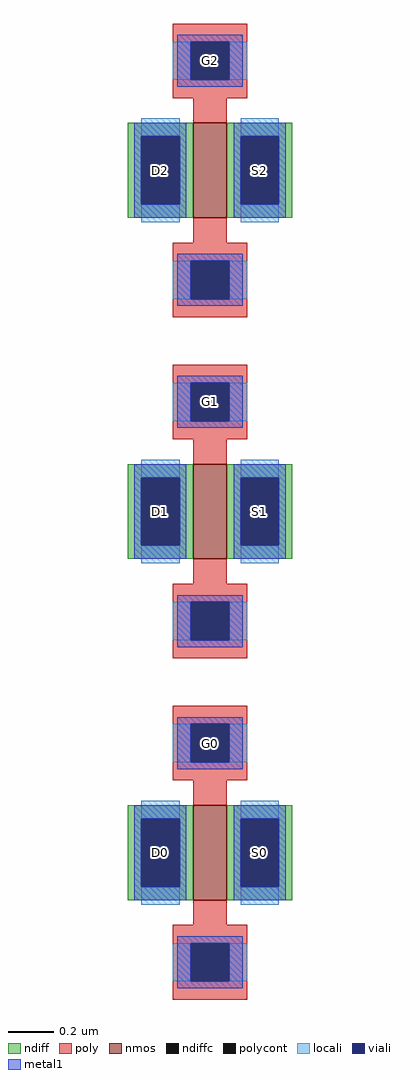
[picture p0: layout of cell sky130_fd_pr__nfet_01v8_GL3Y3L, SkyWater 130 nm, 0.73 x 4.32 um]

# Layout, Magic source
magic
tech sky130A
magscale 1 2
<< nmos >>
rect -15 260 15 344
rect -15 -42 15 42
rect -15 -344 15 -260
<< ndiff >>
rect -73 332 -15 344
rect -73 272 -61 332
rect -27 272 -15 332
rect -73 260 -15 272
rect 15 332 73 344
rect 15 272 27 332
rect 61 272 73 332
rect 15 260 73 272
rect -73 30 -15 42
rect -73 -30 -61 30
rect -27 -30 -15 30
rect -73 -42 -15 -30
rect 15 30 73 42
rect 15 -30 27 30
rect 61 -30 73 30
rect 15 -42 73 -30
rect -73 -272 -15 -260
rect -73 -332 -61 -272
rect -27 -332 -15 -272
rect -73 -344 -15 -332
rect 15 -272 73 -260
rect 15 -332 27 -272
rect 61 -332 73 -272
rect 15 -344 73 -332
<< ndiffc >>
rect -61 272 -27 332
rect 27 272 61 332
rect -61 -30 -27 30
rect 27 -30 61 30
rect -61 -332 -27 -272
rect 27 -332 61 -272
<< poly >>
rect -33 416 33 432
rect -33 382 -17 416
rect 17 382 33 416
rect -33 366 33 382
rect -15 344 15 366
rect -15 238 15 260
rect -33 222 33 238
rect -33 188 -17 222
rect 17 188 33 222
rect -33 172 33 188
rect -33 114 33 130
rect -33 80 -17 114
rect 17 80 33 114
rect -33 64 33 80
rect -15 42 15 64
rect -15 -64 15 -42
rect -33 -80 33 -64
rect -33 -114 -17 -80
rect 17 -114 33 -80
rect -33 -130 33 -114
rect -33 -188 33 -172
rect -33 -222 -17 -188
rect 17 -222 33 -188
rect -33 -238 33 -222
rect -15 -260 15 -238
rect -15 -366 15 -344
rect -33 -382 33 -366
rect -33 -416 -17 -382
rect 17 -416 33 -382
rect -33 -432 33 -416
<< polycont >>
rect -17 382 17 416
rect -17 188 17 222
rect -17 80 17 114
rect -17 -114 17 -80
rect -17 -222 17 -188
rect -17 -416 17 -382
<< locali >>
rect -33 382 -17 416
rect 17 382 33 416
rect -61 332 -27 348
rect -61 256 -27 272
rect 27 332 61 348
rect 27 256 61 272
rect -33 188 -17 222
rect 17 188 33 222
rect -33 80 -17 114
rect 17 80 33 114
rect -61 30 -27 46
rect -61 -46 -27 -30
rect 27 30 61 46
rect 27 -46 61 -30
rect -33 -114 -17 -80
rect 17 -114 33 -80
rect -33 -222 -17 -188
rect 17 -222 33 -188
rect -61 -272 -27 -256
rect -61 -348 -27 -332
rect 27 -272 61 -256
rect 27 -348 61 -332
rect -33 -416 -17 -382
rect 17 -416 33 -382
<< viali >>
rect -17 382 17 416
rect -61 272 -27 332
rect 27 272 61 332
rect -17 188 17 222
rect -17 80 17 114
rect -61 -30 -27 30
rect 27 -30 61 30
rect -17 -114 17 -80
rect -17 -222 17 -188
rect -61 -332 -27 -272
rect 27 -332 61 -272
rect -17 -416 17 -382
<< metal1 >>
rect -29 416 29 422
rect -29 382 -17 416
rect 17 382 29 416
rect -29 376 29 382
rect -67 332 -21 344
rect -67 272 -61 332
rect -27 272 -21 332
rect -67 260 -21 272
rect 21 332 67 344
rect 21 272 27 332
rect 61 272 67 332
rect 21 260 67 272
rect -29 222 29 228
rect -29 188 -17 222
rect 17 188 29 222
rect -29 182 29 188
rect -29 114 29 120
rect -29 80 -17 114
rect 17 80 29 114
rect -29 74 29 80
rect -67 30 -21 42
rect -67 -30 -61 30
rect -27 -30 -21 30
rect -67 -42 -21 -30
rect 21 30 67 42
rect 21 -30 27 30
rect 61 -30 67 30
rect 21 -42 67 -30
rect -29 -80 29 -74
rect -29 -114 -17 -80
rect 17 -114 29 -80
rect -29 -120 29 -114
rect -29 -188 29 -182
rect -29 -222 -17 -188
rect 17 -222 29 -188
rect -29 -228 29 -222
rect -67 -272 -21 -260
rect -67 -332 -61 -272
rect -27 -332 -21 -272
rect -67 -344 -21 -332
rect 21 -272 67 -260
rect 21 -332 27 -272
rect 61 -332 67 -272
rect 21 -344 67 -332
rect -29 -382 29 -376
rect -29 -416 -17 -382
rect 17 -416 29 -382
rect -29 -422 29 -416
<< labels >>
rlabel ndiffc -44 -302 -44 -302 0 D0
port 1 nsew
rlabel ndiffc 44 -302 44 -302 0 S0
port 2 nsew
rlabel polycont 0 -205 0 -205 0 G0
port 3 nsew
rlabel ndiffc -44 0 -44 0 0 D1
port 4 nsew
rlabel ndiffc 44 0 44 0 0 S1
port 5 nsew
rlabel polycont 0 97 0 97 0 G1
port 6 nsew
rlabel ndiffc -44 302 -44 302 0 D2
port 7 nsew
rlabel ndiffc 44 302 44 302 0 S2
port 8 nsew
rlabel polycont 0 399 0 399 0 G2
port 9 nsew
<< properties >>
string gencell sky130_fd_pr__nfet_01v8
string library sky130
string parameters w 0.420 l 0.150 m 3 nf 1 diffcov 100 polycov 100 guard 0 glc 0 grc 0 gtc 0 gbc 0 tbcov 100 rlcov 100 topc 1 botc 1 poverlap 0 doverlap 1 lmin 0.15 wmin 0.42 class mosfet compatible {sky130_fd_pr__nfet_01v8 sky130_fd_pr__nfet_01v8_lvt  sky130_fd_bs_flash__special_sonosfet_star  sky130_fd_pr__nfet_g5v0d10v5 sky130_fd_pr__nfet_05v0_nvt  sky130_fd_pr__nfet_03v3_nvt} full_metal 0 conn_gates 0 viasrc 100 viadrn 100 viagate 100 viagb 0 viagr 0 viagl 0 viagt 0 doports 1
<< end >>
